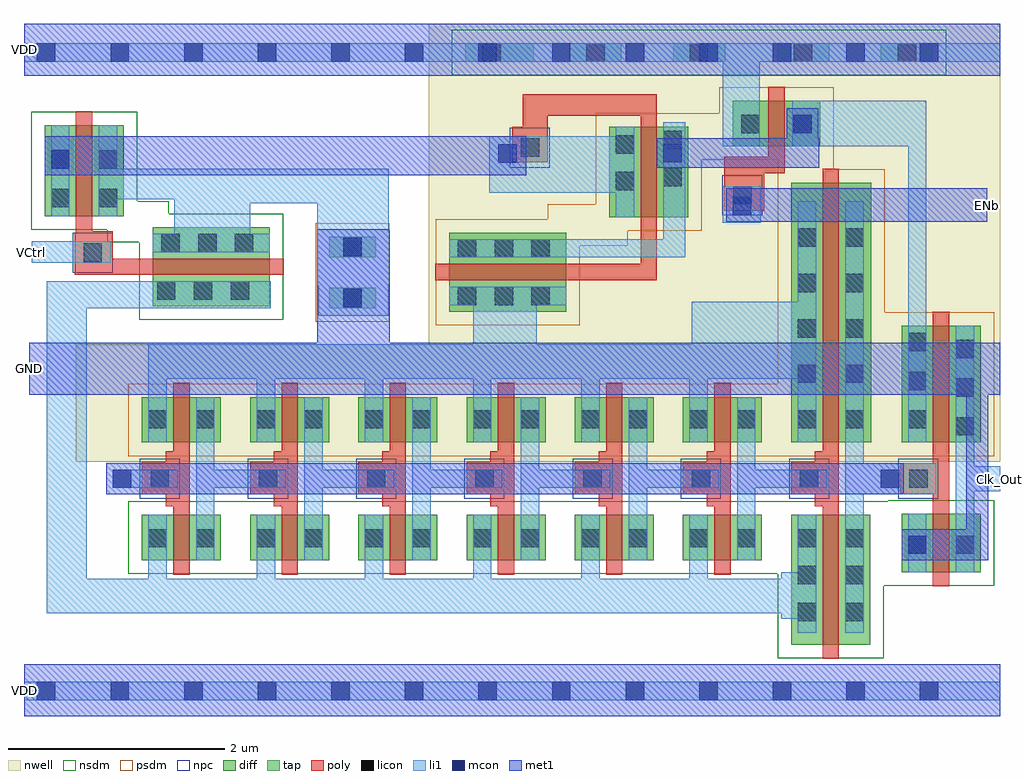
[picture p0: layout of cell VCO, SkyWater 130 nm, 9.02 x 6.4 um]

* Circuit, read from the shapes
.subckt VCO Clk_Out ENb GND VCtrl VDD
XM1 GND VCtrl n1 GND sky130_fd_pr__nfet_01v8 w=0.84 l=0.15
XM2 GND VCtrl n2 GND sky130_fd_pr__nfet_01v8 w=1.08 l=0.15
XM3 n3 n4 n2 GND sky130_fd_pr__nfet_01v8 w=0.42 l=0.15
XM4 n5 n3 n2 GND sky130_fd_pr__nfet_01v8 w=0.42 l=0.15
XM5 n6 n5 n2 GND sky130_fd_pr__nfet_01v8 w=0.42 l=0.15
XM6 n7 n6 n2 GND sky130_fd_pr__nfet_01v8 w=0.42 l=0.15
XM7 n8 n7 n2 GND sky130_fd_pr__nfet_01v8 w=0.42 l=0.15
XM8 n9 n8 n2 GND sky130_fd_pr__nfet_01v8 w=0.42 l=0.15
XM9 n4 n9 n2 GND sky130_fd_pr__nfet_01v8 w=1.2 l=0.15
XM10 Clk_Out n4 GND GND sky130_fd_pr__nfet_01v8 w=0.54 l=0.15
XM11 n3 n4 n10 VDD sky130_fd_pr__pfet_01v8 w=0.42 l=0.15
XM12 n5 n3 n10 VDD sky130_fd_pr__pfet_01v8 w=0.42 l=0.15
XM13 n6 n5 n10 VDD sky130_fd_pr__pfet_01v8 w=0.42 l=0.15
XM14 n11 n1 n10 VDD sky130_fd_pr__pfet_01v8 w=1.08 l=0.15
XM15 n7 n6 n10 VDD sky130_fd_pr__pfet_01v8 w=0.42 l=0.15
XM16 n8 n7 n10 VDD sky130_fd_pr__pfet_01v8 w=0.42 l=0.15
XM17 n11 n1 n1 VDD sky130_fd_pr__pfet_01v8 w=0.84 l=0.15
XM18 n9 n8 n10 VDD sky130_fd_pr__pfet_01v8 w=0.42 l=0.15
XM19 n11 ENb VDD VDD sky130_fd_pr__pfet_01v8 w=0.42 l=0.15
XM20 n4 n9 n10 VDD sky130_fd_pr__pfet_01v8 w=2.4 l=0.15
XM21 Clk_Out n4 n11 VDD sky130_fd_pr__pfet_01v8 w=1.08 l=0.15
.ends

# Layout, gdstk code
import gdstk
lib = gdstk.Library(unit=1e-6, precision=1e-09)
def R(c, l, rs):  # rectangles x0, y0, x1, y1
    for r in rs: c.add(gdstk.rectangle(r[:2], r[2:], *l))
def A(c, l, x, y, w, h, nx, ny, dx, dy):  # array of equal rectangles
    R(c, l, [(x+i*dx, y+j*dy, x+i*dx+w, y+j*dy+h) for i in range(nx) for j in range(ny)])
nwell = (64, 20)
diff = (65, 20)
tap = (65, 44)
poly = (66, 20)
licon = (66, 44)
li1 = (67, 20)
mcon = (67, 44)
met1 = (68, 20)
nsdm = (93, 44)
psdm = (94, 20)
npc = (95, 20)

vco = lib.new_cell('VCO')
R(vco, nwell, [(0.48,2.35,9.02,3.44), (3.74,3.44,9.02,6.4)])
A(vco, diff, 1.09, 1.44, 0.73, 0.42, 6, 2, 1, 1.09)
R(vco, diff, [(7.09,0.66,7.82,1.86), (8.11,1.33,8.84,1.87), (7.09,2.53,7.83,4.93), (8.11,2.53,8.84,3.61), (3.93,3.74,5.01,4.47), (1.19,3.79,2.27,4.52), (5.41,4.61,6.14,5.45), (0.19,4.62,0.92,5.46), (6.55,5.27,7.36,5.69)])
A(vco, tap, 5.04, 6.05, 0.48, 0.17, 4, 1, 0.96, 0)
R(vco, tap, [(2.82,3.77,3.25,3.96), (2.82,4.24,3.25,4.43), (4.08,6.05,4.71,6.22)])
A(vco, poly, 1.38, 1.31, 0.15, 0.63, 6, 2, 1, 1.14)
A(vco, poly, 1.31, 1.94, 0.22, 0.11, 7, 1, 1, 0)
A(vco, poly, 1.09, 2.05, 0.44, 0.3, 7, 1, 1, 0)
A(vco, poly, 1.31, 2.35, 0.22, 0.1, 7, 1, 1, 0)
R(vco, poly, [(7.38,0.53,7.53,1.94), (8.4,1.2,8.55,2.05), (8.1,2.05,8.55,2.34), (8.4,2.34,8.55,3.74), (7.38,2.45,7.53,5.06), (3.8,4.03,5.85,4.18), (0.47,4.08,2.4,4.23), (5.7,4.18,5.85,5.55), (0.47,4.23,0.82,4.47), (0.48,4.47,0.82,4.48), (0.48,4.48,0.63,5.59), (6.47,4.67,6.84,5.02), (6.47,5.02,7.03,5.17), (4.51,5.12,4.84,5.45), (6.88,5.17,7.03,5.82), (4.61,5.45,4.84,5.55), (4.61,5.55,5.85,5.75)])
A(vco, licon, 7.15, 0.88, 0.17, 0.17, 1, 3, 0, 0.34)
A(vco, licon, 7.59, 0.88, 0.17, 0.17, 1, 3, 0, 0.34)
A(vco, licon, 1.17, 2.11, 0.17, 0.17, 7, 1, 1, 0)
A(vco, licon, 7.15, 2.66, 0.17, 0.17, 1, 5, 0, 0.42)
A(vco, licon, 7.59, 2.66, 0.17, 0.17, 1, 5, 0, 0.42)
A(vco, licon, 4.01, 3.8, 0.17, 0.17, 3, 2, 0.34, 0.44)
A(vco, licon, 1.23, 3.85, 0.17, 0.17, 3, 1, 0.34, 0)
A(vco, licon, 1.27, 4.29, 0.17, 0.17, 3, 1, 0.34, 0)
A(vco, licon, 4.235, 6.05, 0.17, 0.17, 5, 1, 0.96, 0)
R(vco, licon, [(8.17,1.5,8.34,1.67), (8.61,1.5,8.78,1.67), (1.15,1.56,1.32,1.73), (1.59,1.56,1.76,1.73), (2.15,1.56,2.32,1.73), (2.59,1.56,2.76,1.73), (3.15,1.56,3.32,1.73), (3.59,1.56,3.76,1.73), (4.15,1.56,4.32,1.73), (4.59,1.56,4.76,1.73), (5.15,1.56,5.32,1.73), (5.59,1.56,5.76,1.73), (6.15,1.56,6.32,1.73), (6.59,1.56,6.76,1.73), (8.18,2.11,8.35,2.28), (8.61,2.595,8.78,2.765), (1.15,2.66,1.32,2.83), (1.59,2.66,1.76,2.83), (2.15,2.66,2.32,2.83), (2.59,2.66,2.76,2.83), (3.15,2.66,3.32,2.83), (3.59,2.66,3.76,2.83), (4.15,2.66,4.32,2.83), (4.59,2.66,4.76,2.83), (5.15,2.66,5.32,2.83), (5.59,2.66,5.76,2.83), (6.15,2.66,6.32,2.83), (6.59,2.66,6.76,2.83), (8.17,2.66,8.34,2.83), (8.61,2.955,8.78,3.125), (8.17,3.015,8.34,3.185), (8.61,3.31,8.78,3.48), (8.17,3.375,8.34,3.545), (2.95,3.78,3.12,3.95), (0.55,4.2,0.72,4.37), (2.95,4.25,3.12,4.42), (0.25,4.705,0.42,4.875), (0.69,4.705,0.86,4.875), (6.555,4.73,6.725,4.9), (5.47,4.86,5.64,5.03), (5.91,4.9,6.08,5.07), (0.69,5.06,0.86,5.23), (0.25,5.065,0.42,5.235), (4.59,5.17,4.76,5.34), (5.47,5.2,5.64,5.37), (5.91,5.24,6.08,5.41), (6.63,5.39,6.8,5.56), (7.11,5.39,7.28,5.56)])
A(vco, li1, 1.15, 1.27, 0.17, 0.59, 6, 1, 1, 0)
A(vco, li1, 1.59, 1.44, 0.17, 0.67, 6, 2, 1, 0.84)
A(vco, li1, 1.59, 2.11, 0.83, 0.17, 6, 1, 1, 0)
A(vco, li1, 1.15, 2.53, 0.17, 0.59, 7, 1, 1, 0)
R(vco, li1, [(0,0.15,9.02,0.32), (7.15,0.77,7.32,0.9), (7.59,0.77,7.76,2.05), (7,0.9,7.32,0.95), (0.21,0.95,7.32,1.27), (0.21,1.27,0.58,3.77), (7,1.27,7.32,1.33), (7.15,1.33,7.32,1.86), (8.17,1.33,8.34,1.87), (8.61,1.33,8.78,2.08), (7.59,2.05,8.43,2.34), (8.61,2.08,9.02,2.31), (0.82,2.11,1.42,2.28), (8.61,2.31,8.78,3.61), (7.59,2.34,7.76,4.76), (8.17,2.53,8.34,5.27), (1.15,3.12,7.32,3.44), (4.15,3.44,4.74,3.8), (6.17,3.44,7.32,3.83), (2.72,3.7,3.37,3.99), (0.21,3.77,2.28,4.02), (3.93,3.8,5.01,3.97), (7.15,3.83,7.32,4.76), (2.71,3.99,3.38,4.49), (0.07,4.19,0.8,4.39), (3.93,4.24,6.11,4.41), (1.19,4.29,2.27,4.46), (5.91,4.41,6.11,5.49), (1.39,4.46,2.09,4.74), (2.71,4.49,3.37,4.74), (6.46,4.56,6.81,4.9), (5.47,4.61,5.64,4.84), (0.25,4.62,0.42,5.46), (0.69,4.62,0.86,4.78), (1.39,4.74,3.37,4.78), (0.69,4.78,3.37,5.06), (4.3,4.84,5.64,5.36), (0.69,5.06,0.86,5.46), (6.46,5.27,6.8,6.05), (7.1,5.27,8.34,5.69), (5.47,5.36,5.64,5.45), (0,6.05,9.02,6.22)])
A(vco, mcon, 0.12, 0.15, 0.17, 0.17, 13, 2, 0.68, 5.9)
R(vco, mcon, [(8.17,1.5,8.34,1.67), (0.82,2.11,0.99,2.28), (7.92,2.11,8.09,2.28), (2.95,3.78,3.12,3.95), (2.95,4.25,3.12,4.42), (6.55,4.63,6.72,4.8), (0.25,5.06,0.42,5.23), (4.385,5.115,4.555,5.285), (5.91,5.12,6.08,5.29), (7.11,5.39,7.28,5.56)])
R(vco, met1, [(0,0,9.02,0.48), (8.11,1.44,8.91,1.73), (8.71,1.73,8.91,2.97), (0.76,2.05,8.12,2.06), (0.76,2.06,8.13,2.34), (0.05,2.97,9.02,3.45), (2.71,3.45,3.38,4.49), (2.72,4.49,3.37,4.5), (6.49,4.57,8.9,4.88), (0.19,5,4.64,5.36), (5.85,5.07,7.35,5.34), (7.05,5.34,7.34,5.62), (0,5.92,9.02,6.4)])
R(vco, nsdm, [(6.965,0.535,7.945,1.205), (6.965,1.205,8.965,1.315), (0.965,1.315,8.965,1.985), (7.985,1.985,8.965,1.995), (1.065,3.665,2.395,4.38), (0.77,4.38,2.395,4.495), (0.065,4.495,2.395,4.645), (0.065,4.645,1.34,4.76), (0.065,4.76,1.045,5.585), (3.955,5.925,8.525,6.345)])
R(vco, psdm, [(0.965,2.405,8.965,3.075), (6.965,3.075,8.965,3.735), (3.805,3.615,5.135,4.35), (2.695,3.645,3.375,4.555), (6.965,3.735,7.955,5.055), (3.805,4.35,5.58,4.485), (3.805,4.485,6.265,4.595), (4.84,4.595,6.265,4.73), (5.285,4.73,6.265,5.145), (6.965,5.055,7.485,5.145), (5.285,5.145,7.485,5.575), (6.425,5.575,7.485,5.815)])
A(vco, npc, 1.07, 2.01, 0.37, 0.37, 7, 1, 1, 0)
R(vco, npc, [(8.08,2.01,8.45,2.38), (0.45,4.1,0.82,4.47), (6.455,4.63,6.825,5), (4.49,5.07,4.86,5.44)])
vco.add(gdstk.Label('VCtrl', (0.07,4.29), layer=67, texttype=5))
vco.add(gdstk.Label('VDD', (0,0.24), layer=68, texttype=5))
vco.add(gdstk.Label('VDD', (0,6.16), layer=68, texttype=5))
vco.add(gdstk.Label('GND', (0.05,3.21), layer=68, texttype=5))
vco.add(gdstk.Label('Clk_Out', (9.02,2.19), layer=67, texttype=5))
vco.add(gdstk.Label('ENb', (8.9,4.72), layer=68, texttype=5))

lib.write_gds('VCO.gds')
